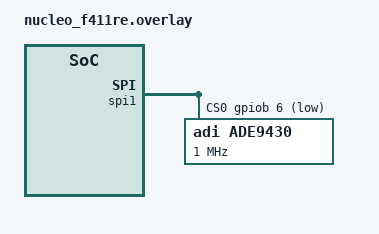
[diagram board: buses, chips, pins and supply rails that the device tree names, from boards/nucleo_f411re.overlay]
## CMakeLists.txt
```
# SPDX-License-Identifier: Apache-2.0

cmake_minimum_required(VERSION 3.20.0)
find_package(Zephyr REQUIRED HINTS $ENV{ZEPHYR_BASE})
project(ade9430)

FILE(GLOB app_sources src/*.c)
target_sources(app PRIVATE ${app_sources})
```

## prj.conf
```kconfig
CONFIG_STDOUT_CONSOLE=y
CONFIG_CBPRINTF_FP_SUPPORT=y

CONFIG_GPIO=y
CONFIG_SPI=y
CONFIG_SENSOR=y

# CONFIG_SHELL=y
# CONFIG_SPI_SHELL=y
# CONFIG_SENSOR_SHELL=y

CONFIG_ADE9430=y
```

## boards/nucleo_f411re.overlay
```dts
&spi1 {
	status = "okay";
	cs-gpios = <&gpiob 6 GPIO_ACTIVE_LOW>;

        ade9430@0 {
		status = "okay";
                compatible = "adi,ade9430";
		spi-max-frequency = <1000000>;
		spi-cpol;
		spi-cpha;
                reg = <0>;
		enable_phase = <1 0 0>; // Enable measurement on PHASE_A only
		enable_temp; // Enable temperature sensor
        };
};
```

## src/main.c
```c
#include <zephyr/kernel.h>
#include <zephyr/device.h>
#include <zephyr/drivers/sensor.h>
#include <zephyr/sys/printk.h>
#include <zephyr/logging/log.h>

K_SEM_DEFINE(sem, 0, 1);
LOG_MODULE_DECLARE(ADE9430);

static const struct device *dev = DEVICE_DT_GET_ONE(adi_ade9430);

#if CONFIG_SHELL
int main(void)
{
	if (dev == NULL) {
		printk("Failed to get binding device\n");
	}
 
	while(1) {
		k_msleep(100);
	}
	return 0;
}
#else

#define DELAY_MS 1000

void sensor_task(void)
{
	struct sensor_value vrms, irms, watt, temp;
	uint64_t count = 0;

	printk("1-phase polling VRMS, IRMS, WATT, TEMP every %d ms.\n", DELAY_MS);
	for (;;) {
		sensor_sample_fetch(dev);

		k_msleep(DELAY_MS);

		sensor_channel_get(dev, SENSOR_CHAN_VOLTAGE, &vrms);
		sensor_channel_get(dev, SENSOR_CHAN_CURRENT, &irms);
		sensor_channel_get(dev, SENSOR_CHAN_POWER, &watt);
		sensor_channel_get(dev, SENSOR_CHAN_DIE_TEMP, &temp);

		printk("[%llu] vrms = %f, irms = %f, watt = %f, temp = %f \n",
		       count,
		       sensor_value_to_double(&vrms),
		       sensor_value_to_double(&irms),
		       sensor_value_to_double(&watt),
		       sensor_value_to_double(&temp));

		count++;
	}
}

int main(void)
{
	if (dev == NULL) {
		printk("Failed to get binding device\n");
	}

	sensor_task();

	return 0;
}

#endif
```
